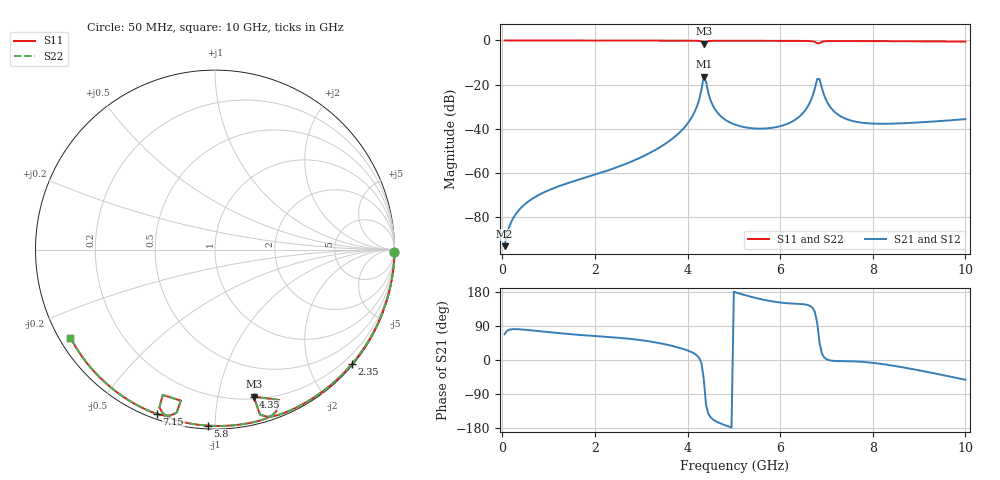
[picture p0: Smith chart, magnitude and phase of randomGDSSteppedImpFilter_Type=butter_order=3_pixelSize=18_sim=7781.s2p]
! freq	dB(S11)	phase(S11)	dB(S12)	phase(S12)
!  dB(S21)	phase(S21)	dB(S22)	phase(S22)
!S-par simulation data
#  GHz  S  DB  R 50
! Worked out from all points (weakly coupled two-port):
!   200 points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, 50 MHz to 10 GHz, reference 50 ohm
!   highest |S21| = -16.35 dB at 4.35 GHz (marker M1); lowest = -93.1 dB at 50 MHz (marker M2)
!   lowest |S11| = -1.4 dB at 4.35 GHz (marker M3), VSWR 12.04, Z = 11 - j63.7 ohm
!   |S11| at or under -10 dB: nowhere
!   |S22| runs from -1.4 to 0.0 dB; largest |S21 - S12| = 0
!   S11 on the Smith chart (normalised r, x): 50 MHz: open; 2.35 GHz: 0.03, -2.76; 4.35 GHz: 0.22, -1.27; 5.8 GHz: 0.02, -0.96; 7.15 GHz: 0.02, -0.71; 10 GHz: 0.03, -0.28
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0.05  -0.00 -0.9  -93.12 67.9  -93.12 67.9  -0.00 -0.9
0.25  -0.00 -4.3  -79.91 81.4  -79.91 81.4  -0.00 -4.3
0.85  -0.02 -14.7  -69.26 75.4  -69.26 75.4  -0.02 -14.7
1.75  -0.04 -29.9  -62.36 65.4  -62.36 65.4  -0.04 -29.9
2.35  -0.05 -39.8  -58.33 60.2  -58.33 60.2  -0.05 -39.8
3.4  -0.08 -56.9  -48.40 44.3  -48.40 44.3  -0.08 -56.9
4.05  -0.11 -67.7  -36.16 22.8  -36.16 22.8  -0.11 -67.7
4.25  -0.21 -72.5  -26.84 5.7  -26.84 5.7  -0.21 -72.5
4.35  -1.45 -75.3  -16.35 -49.5  -16.35 -49.5  -1.44 -75.2
4.4  -0.81 -66.9  -18.77 -118.8  -18.77 -118.8  -0.81 -66.9
4.6  -0.14 -73.6  -31.38 -160.8  -31.38 -160.8  -0.14 -73.6
5.05  -0.13 -81.2  -38.26 178.1  -38.26 178.1  -0.13 -81.2
5.8  -0.16 -92.4  -39.61 155.3  -39.61 155.3  -0.16 -92.4
6.4  -0.21 -101.5  -34.73 148.1  -34.73 148.1  -0.21 -101.5
6.7  -0.38 -107.6  -25.15 137.5  -25.15 137.5  -0.38 -107.6
6.8  -1.31 -109.7  -17.48 97.9  -17.48 97.9  -1.30 -109.7
6.85  -1.28 -102.7  -17.44 46.1  -17.44 46.1  -1.28 -102.7
7  -0.31 -106.5  -27.28 2.0  -27.28 2.0  -0.31 -106.5
7.15  -0.26 -109.5  -31.81 -2.3  -31.81 -2.3  -0.26 -109.5
7.6  -0.27 -116.3  -36.65 -3.6  -36.65 -3.6  -0.27 -116.3
8.35  -0.33 -126.6  -37.69 -13.3  -37.69 -13.3  -0.33 -126.6
10  -0.51 -148.7  -35.62 -52.1  -35.62 -52.1  -0.51 -148.7
